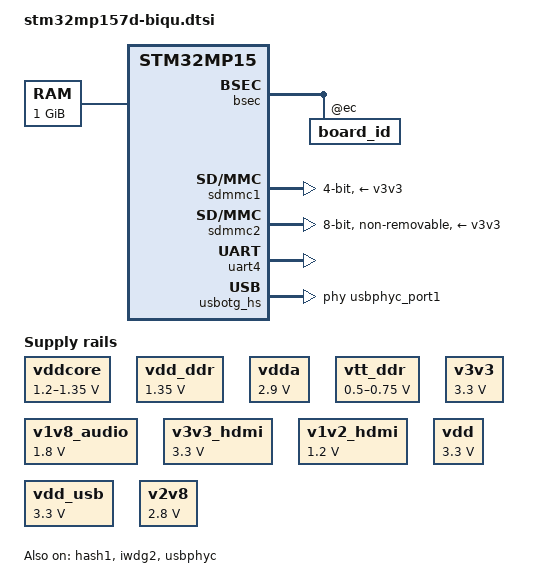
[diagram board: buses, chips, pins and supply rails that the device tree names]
// SPDX-License-Identifier: (GPL-2.0+ OR BSD-3-Clause)
/*
 * Copyright (C) STMicroelectronics 2017 - All Rights Reserved
 * Author: Ludovic Barre <ludovic.barre@st.com> for STMicroelectronics.
 */

#include <dt-bindings/clock/stm32mp1-clksrc.h>
#include <dt-bindings/power/stm32mp1-power.h>
#include "stm32mp15-ddr3-2x4Gb-1066-binG.dtsi"

/ {
	memory@c0000000 {
		device_type = "memory";
		reg = <0xC0000000 0x40000000>;
	};

   vddcore: regulator-vddcore {
        compatible = "regulator-fixed";
        regulator-name = "vddcore";
        regulator-min-microvolt = <1200000>;
        regulator-max-microvolt = <1350000>;
        regulator-off-in-suspend;
        regulator-always-on;
    };

    vdd_ddr: regulator-vdd-ddr {
        compatible = "regulator-fixed";
        regulator-name = "vdd_ddr";
        regulator-min-microvolt = <1350000>;
        regulator-max-microvolt = <1350000>;
        regulator-off-in-suspend;
        regulator-always-on;
    };
 
    vdda: regulator-vvdda {
        compatible = "regulator-fixed";
        regulator-name = "vdda";
        regulator-min-microvolt = <2900000>;
        regulator-max-microvolt = <2900000>;
        regulator-off-in-suspend;
        regulator-always-on;
    };
 
    vtt_ddr: regulator-vtt-ddr {
        compatible = "regulator-fixed";
        regulator-name = "vtt_ddr";
        regulator-min-microvolt = <500000>;
        regulator-max-microvolt = <750000>;
        regulator-off-in-suspend;
        regulator-always-on;
    };
 
    v3v3: regulator-3p3v {
        compatible = "regulator-fixed";
        regulator-name = "v3v3";
        regulator-min-microvolt = <3300000>;
        regulator-max-microvolt = <3300000>;
        regulator-off-in-suspend;
        regulator-always-on;
    };
 
    v1v8_audio: regulator-v1v8-audio {
        compatible = "regulator-fixed";
        regulator-name = "v1v8_audio";
        regulator-min-microvolt = <1800000>;
        regulator-max-microvolt = <1800000>;
        regulator-off-in-suspend;
        regulator-always-on;
    };

    v3v3_hdmi: regulator-v3v3-hdmi {
        compatible = "regulator-fixed";
        regulator-name = "v3v3_hdmi";
        regulator-min-microvolt = <3300000>;
        regulator-max-microvolt = <3300000>;
        regulator-off-in-suspend;
        regulator-always-on;
    };

    v1v2_hdmi: regulator-v1v2-hdmi {
        compatible = "regulator-fixed";
        regulator-name = "v1v2_hdmi";
        regulator-min-microvolt = <1200000>;
        regulator-max-microvolt = <1200000>;
        regulator-off-in-suspend;
        regulator-always-on;
    };

    vdd: regulator-vdd {
        compatible = "regulator-fixed";
        regulator-name = "vdd";
        regulator-min-microvolt = <3300000>;
        regulator-max-microvolt = <3300000>;
        regulator-off-in-suspend;
        regulator-always-on;
    };

    vdd_usb: regulator-vdd-usb {
        compatible = "regulator-fixed";
        regulator-name = "vdd_usb";
        regulator-min-microvolt = <3300000>;
        regulator-max-microvolt = <3300000>;
        regulator-off-in-suspend;
        regulator-always-on;
    };

    v2v8: regulator-v2v8 {
        compatible = "regulator-fixed";
        regulator-name = "v2v8";
        regulator-min-microvolt = <2800000>;
        regulator-max-microvolt = <2800000>;
        regulator-off-in-suspend;
        regulator-always-on;
    };
};

&bsec {
	board_id: board_id@ec {
		reg = <0xec 0x4>;
		st,non-secure-otp;
	};
};

&clk_hse {
	st,digbypass;
};

&cpu0{
	cpu-supply = <&vddcore>;
};

&hash1 {
	status = "okay";
};

&iwdg2 {
    timeout-sec = <32>;
    status = "okay";
    secure-status = "okay";
};


&nvmem_layout {
	nvmem-cells = <&cfg0_otp>,
		      <&part_number_otp>,
		      <&monotonic_otp>,
		      <&nand_otp>,
		      <&uid_otp>,
		      <&package_otp>,
		      <&hw2_otp>,
		      <&pkh_otp>,
		      <&board_id>;

	nvmem-cell-names = "cfg0_otp",
			   "part_number_otp",
			   "monotonic_otp",
			   "nand_otp",
			   "uid_otp",
			   "package_otp",
			   "hw2_otp",
			   "pkh_otp",
			   "board_id";
};

&pwr_regulators {
	system_suspend_supported_soc_modes = <
		STM32_PM_CSLEEP_RUN
		STM32_PM_CSTOP_ALLOW_LP_STOP
		STM32_PM_CSTOP_ALLOW_LPLV_STOP
		STM32_PM_CSTOP_ALLOW_STANDBY_DDR_SR
	>;
	system_off_soc_mode = <STM32_PM_CSTOP_ALLOW_STANDBY_DDR_OFF>;
	vdd-supply = <&vdd>;
	vdd_3v3_usbfs-supply = <&vdd_usb>;
};

&rcc {
	st,hsi-cal;
	st,csi-cal;
	st,cal-sec = <60>;
	st,clksrc = <
		CLK_MPU_PLL1P
		CLK_AXI_PLL2P
		CLK_MCU_PLL3P
		CLK_PLL12_HSE
		CLK_PLL3_HSE
		CLK_PLL4_HSE
		CLK_RTC_LSE
		CLK_MCO1_DISABLED
		CLK_MCO2_DISABLED
	>;

	st,clkdiv = <
		1 /*MPU*/
		0 /*AXI*/
		0 /*MCU*/
		1 /*APB1*/
		1 /*APB2*/
		1 /*APB3*/
		1 /*APB4*/
		2 /*APB5*/
		23 /*RTC*/
		0 /*MCO1*/
		0 /*MCO2*/
	>;

	st,pkcs = <
		CLK_CKPER_HSE
		CLK_FMC_ACLK
		CLK_QSPI_ACLK
		CLK_ETH_DISABLED
		CLK_SDMMC12_PLL4P
		CLK_DSI_DSIPLL
		CLK_STGEN_HSE
		CLK_USBPHY_HSE
		CLK_SPI2S1_PLL3Q
		CLK_SPI2S23_PLL3Q
		CLK_SPI45_HSI
		CLK_SPI6_HSI
		CLK_I2C46_HSI
		CLK_SDMMC3_PLL4P
		CLK_USBO_USBPHY
		CLK_ADC_CKPER
		CLK_CEC_LSE
		CLK_I2C12_HSI
		CLK_I2C35_HSI
		CLK_UART1_HSI
		CLK_UART24_HSI
		CLK_UART35_HSI
		CLK_UART6_HSI
		CLK_UART78_HSI
		CLK_SPDIF_PLL4P
		CLK_FDCAN_PLL4R
		CLK_SAI1_PLL3Q
		CLK_SAI2_PLL3Q
		CLK_SAI3_PLL3Q
		CLK_SAI4_PLL3Q
		CLK_RNG1_LSI
		CLK_RNG2_LSI
		CLK_LPTIM1_PCLK1
		CLK_LPTIM23_PCLK3
		CLK_LPTIM45_LSE
	>;

	/* VCO = 1066.0 MHz => P = 266 (AXI), Q = 533 (GPU), R = 533 (DDR) */
	pll2: st,pll@1 {
		compatible = "st,stm32mp1-pll";
		reg = <1>;
		cfg = <2 65 1 0 0 PQR(1,1,1)>;
		frac = <0x1400>;
	};

	/* VCO = 417.8 MHz => P = 209, Q = 24, R = 11 */
	pll3: st,pll@2 {
		compatible = "st,stm32mp1-pll";
		reg = <2>;
		cfg = <1 33 1 16 36 PQR(1,1,1)>;
		frac = <0x1a04>;
	};

	/* VCO = 594.0 MHz => P = 99, Q = 74, R = 74 */
	pll4: st,pll@3 {
		compatible = "st,stm32mp1-pll";
		reg = <3>;
		cfg = <3 98 5 7 7 PQR(1,1,1)>;
	};
};

&sdmmc1 {
	pinctrl-names = "default";
	pinctrl-0 = <&sdmmc1_b4_pins_a &sdmmc1_dir_pins_a>;
	st,neg-edge;
    broken-cd;
	bus-width = <4>;
	vmmc-supply = <&v3v3>;
	status = "okay";
};

&sdmmc2 {
	pinctrl-names = "default";
	pinctrl-0 = <&sdmmc2_b4_pins_a &sdmmc2_d47_pins_a>;
	non-removable;
	st,neg-edge;
	bus-width = <8>;
	vmmc-supply = <&v3v3>;
    vqmmc-supply = <&v3v3>;
	status = "okay";
};

&uart4 {
	pinctrl-names = "default";
	pinctrl-0 = <&uart4_pins_a>;
	status = "okay";
};

&usbotg_hs {
	phys = <&usbphyc_port1 0>;
	phy-names = "usb2-phy";
	usb-role-switch;
	status = "okay";
};

&usbphyc {
	status = "okay";
};

&usbphyc_port0 {
	phy-supply = <&vdd_usb>;
};

&usbphyc_port1 {
	phy-supply = <&vdd_usb>;
};
